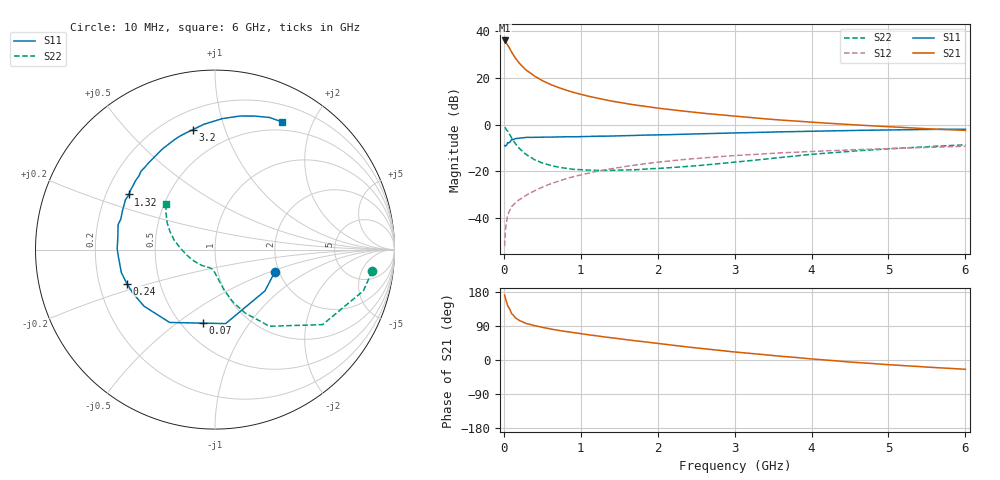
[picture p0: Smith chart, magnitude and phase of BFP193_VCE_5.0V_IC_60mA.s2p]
! Infineon Technologies  Discrete & RF Semiconductors
! BFP193
! VCE = 5.0 V,  IC =  60 mA
! Common Emitter S-Parameters:  Jan 2016
# GHz  S  MA  R  50
!  f  S11  S21  S12  S22
! GHz  MAG  ANG  MAG  ANG  MAG  ANG  MAG  ANG
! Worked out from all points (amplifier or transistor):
!   210 points, 10 MHz to 6 GHz, reference 50 ohm
!   highest |S21| = 36.2 dB at 10 MHz (marker M1)
!   |S21| within 3 dB of that: start of sweep to 67.85 MHz
!   unconditionally stable (mu >= 1): 495.9 MHz to 3.948 GHz
!   at 185 MHz: K = 0.71, MSG = 29.8 dB, |S12| = -32.5 dB
!   at 1.52 GHz: K = 1.07, MAG = 12.2 dB, |S12| = -18.2 dB
!   at 6 GHz: K = 0.95, MSG = 3.4 dB, |S12| = -9.2 dB
!   S11 on the Smith chart (normalised r, x): 10 MHz: 1.90, -0.54; 70 MHz: 0.64, -0.63; 240 MHz: 0.32, -0.17; 1.32 GHz: 0.30, +0.27; 3.2 GHz: 0.31, +0.78; 6 GHz: 0.40, +1.59
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0.01  0.3558 -20.6  64.25 171.5  0.0025 82.5  0.8839 -7.8
0.02  0.3612 -39.6  61.17 162.4  0.0052 75.3  0.8582 -15.5
0.05  0.4165 -81.8  51.47 142.9  0.0115 66.8  0.7307 -34.9
0.07  0.4149 -99.1  44.8 136.5  0.0139 62.2  0.6396 -41.2
0.1  0.4782 -121.9  36.32 122.7  0.0176 57.7  0.5239 -54.6
0.15  0.5057 -141.4  26.78 111.2  0.0212 56.3  0.3921 -64.5
0.2  0.519 -152.5  21.05 104.3  0.0248 57.1  0.3139 -70.7
0.24  0.5257 -158.9  17.88 100.5  0.0274 58.4  0.2697 -73.8
0.3  0.5373 -166.3  14.45 95.8  0.0317 60.0  0.225 -77.8
0.32  0.5367 -168.0  13.76 95.0  0.0331 60.7  0.2155 -78.5
0.4  0.5388 -174.6  11.01 90.5  0.0386 62.8  0.178 -82.1
0.5  0.5451 179.5  8.838 86.1  0.046 64.4  0.1514 -85.5
0.6  0.5445 174.0  7.403 82.1  0.0537 65.0  0.135 -88.7
0.7  0.5503 169.5  6.374 78.4  0.061 65.0  0.1244 -91.6
1.02  0.5589 157.2  4.407 69.0  0.0859 63.7  0.1082 -100.2
1.32  0.5702 147.4  3.418 60.6  0.1088 60.7  0.1053 -109.5
2.02  0.6087 127.4  2.258 43.3  0.1591 52.2  0.1163 -133.7
3.1  0.6739 102.4  1.478 19.3  0.2242 38.0  0.1639 -171.3
3.2  0.6796 100.5  1.431 17.6  0.2292 36.7  0.1702 -174.2
4.1  0.7351 85.3  1.109 1.3  0.273 25.8  0.2399 165.1
5.1  0.7797 72.2  0.893 -13.6  0.3125 14.7  0.3121 149.1
6  0.8034 62.2  0.759 -24.6  0.3456 5.1  0.3716 137.4
